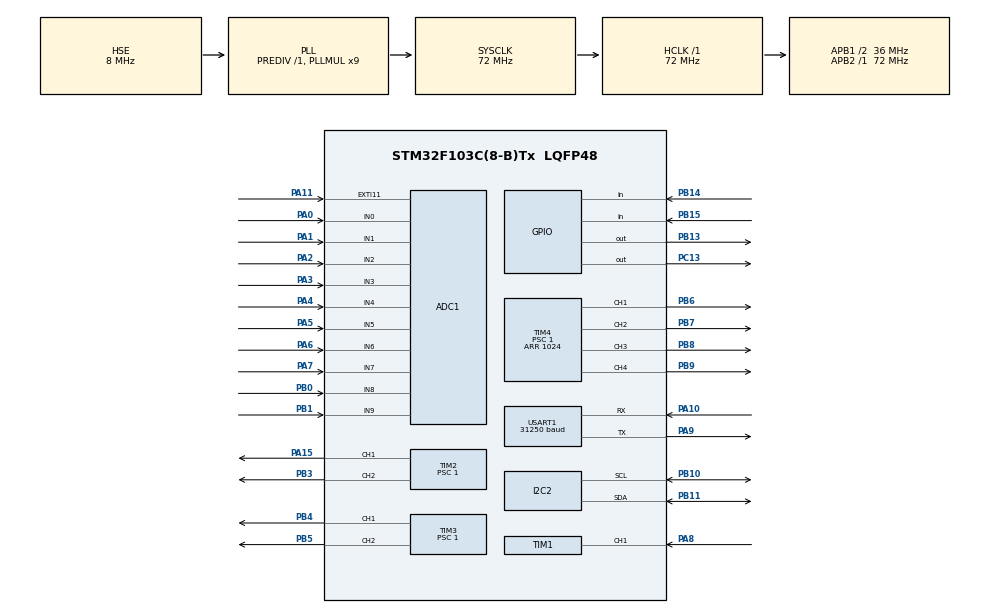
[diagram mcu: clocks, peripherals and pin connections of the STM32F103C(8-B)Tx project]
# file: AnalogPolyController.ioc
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ADC1.Channel-0\#ChannelRegularConversion=ADC_CHANNEL_0
ADC1.Channel-1\#ChannelRegularConversion=ADC_CHANNEL_1
ADC1.Channel-2\#ChannelRegularConversion=ADC_CHANNEL_2
ADC1.Channel-3\#ChannelRegularConversion=ADC_CHANNEL_3
ADC1.Channel-4\#ChannelRegularConversion=ADC_CHANNEL_4
ADC1.Channel-5\#ChannelRegularConversion=ADC_CHANNEL_5
ADC1.Channel-6\#ChannelRegularConversion=ADC_CHANNEL_6
ADC1.Channel-7\#ChannelRegularConversion=ADC_CHANNEL_7
ADC1.Channel-8\#ChannelRegularConversion=ADC_CHANNEL_8
ADC1.ContinuousConvMode=DISABLE
ADC1.NbrOfConversion=9
ADC1.NbrOfConversionFlag=1
ADC1.Rank-0\#ChannelRegularConversion=1
ADC1.Rank-1\#ChannelRegularConversion=2
ADC1.Rank-2\#ChannelRegularConversion=3
ADC1.Rank-3\#ChannelRegularConversion=4
ADC1.Rank-4\#ChannelRegularConversion=5
ADC1.Rank-5\#ChannelRegularConversion=6
ADC1.Rank-6\#ChannelRegularConversion=7
ADC1.Rank-7\#ChannelRegularConversion=8
ADC1.Rank-8\#ChannelRegularConversion=9
ADC1.SamplingTime-0\#ChannelRegularConversion=ADC_SAMPLETIME_7CYCLES_5
ADC1.SamplingTime-1\#ChannelRegularConversion=ADC_SAMPLETIME_7CYCLES_5
ADC1.SamplingTime-2\#ChannelRegularConversion=ADC_SAMPLETIME_7CYCLES_5
ADC1.SamplingTime-3\#ChannelRegularConversion=ADC_SAMPLETIME_7CYCLES_5
ADC1.SamplingTime-4\#ChannelRegularConversion=ADC_SAMPLETIME_7CYCLES_5
ADC1.SamplingTime-5\#ChannelRegularConversion=ADC_SAMPLETIME_7CYCLES_5
ADC1.SamplingTime-6\#ChannelRegularConversion=ADC_SAMPLETIME_7CYCLES_5
ADC1.SamplingTime-7\#ChannelRegularConversion=ADC_SAMPLETIME_7CYCLES_5
ADC1.SamplingTime-8\#ChannelRegularConversion=ADC_SAMPLETIME_7CYCLES_5
ADC1.master=1
Dma.ADC1.0.Direction=DMA_PERIPH_TO_MEMORY
Dma.ADC1.0.Instance=DMA1_Channel1
Dma.ADC1.0.MemDataAlignment=DMA_MDATAALIGN_HALFWORD
Dma.ADC1.0.MemInc=DMA_MINC_ENABLE
Dma.ADC1.0.Mode=DMA_CIRCULAR
Dma.ADC1.0.PeriphDataAlignment=DMA_PDATAALIGN_HALFWORD
Dma.ADC1.0.PeriphInc=DMA_PINC_DISABLE
Dma.ADC1.0.Priority=DMA_PRIORITY_LOW
Dma.Request0=ADC1
Dma.Request1=USART1_RX
Dma.USART1_RX.1.Direction=DMA_PERIPH_TO_MEMORY
Dma.USART1_RX.1.Instance=DMA1_Channel5
Dma.USART1_RX.1.MemDataAlignment=DMA_MDATAALIGN_BYTE
Dma.USART1_RX.1.MemInc=DMA_MINC_DISABLE
Dma.USART1_RX.1.Mode=DMA_NORMAL
Dma.USART1_RX.1.PeriphDataAlignment=DMA_PDATAALIGN_BYTE
Dma.USART1_RX.1.PeriphInc=DMA_PINC_DISABLE
Dma.USART1_RX.1.Priority=DMA_PRIORITY_VERY_HIGH
Mcu.Family=STM32F1
Mcu.Name=STM32F103C(8-B)Tx
Mcu.Package=LQFP48
NVIC.DMA1_Channel1_IRQn=true\:0\:0\:false\:false\:true\:false\:true\:true
NVIC.DMA1_Channel5_IRQn=true\:0\:0\:false\:false\:true\:false\:true\:true
NVIC.PriorityGroup=NVIC_PRIORITYGROUP_4
NVIC.TIM1_CC_IRQn=true\:0\:0\:false\:false\:true\:true\:true\:true
NVIC.TIM1_UP_IRQn=true\:0\:0\:false\:false\:true\:true\:true\:true
NVIC.USART1_IRQn=true\:6\:0\:true\:false\:true\:true\:true\:true
PA0-WKUP.Signal=ADCx_IN0
PA1.Signal=ADCx_IN1
PA10.Mode=Asynchronous
PA10.Signal=USART1_RX
PA11.Signal=GPXTI11
PA15.GPIO_Speed=GPIO_SPEED_FREQ_HIGH
PA15.Signal=S_TIM2_CH1_ETR
PA2.Signal=ADCx_IN2
PA3.Signal=ADCx_IN3
PA4.Signal=ADCx_IN4
PA5.Signal=ADCx_IN5
PA6.Signal=ADCx_IN6
PA7.Signal=ADCx_IN7
PA8.GPIO_PuPd=GPIO_PULLUP
PA8.Signal=S_TIM1_CH1
PA9.Mode=Asynchronous
PA9.Signal=USART1_TX
PB0.Signal=ADCx_IN8
PB1.Signal=ADCx_IN9
PB10.Mode=I2C
PB10.Signal=I2C2_SCL
PB11.Mode=I2C
PB11.Signal=I2C2_SDA
PB13.Signal=GPIO_Output
PB14.Signal=GPIO_Input
PB15.Signal=GPIO_Input
PB3.GPIO_Speed=GPIO_SPEED_FREQ_HIGH
PB3.Signal=S_TIM2_CH2
PB4.GPIO_Speed=GPIO_SPEED_FREQ_HIGH
PB4.Signal=S_TIM3_CH1
PB5.GPIO_Speed=GPIO_SPEED_FREQ_HIGH
PB5.Signal=S_TIM3_CH2
PB6.GPIO_ModeDefaultPP=GPIO_MODE_AF_PP
PB6.GPIO_Speed=GPIO_SPEED_FREQ_HIGH
PB6.Signal=S_TIM4_CH1
PB7.GPIO_Speed=GPIO_SPEED_FREQ_HIGH
PB7.Signal=S_TIM4_CH2
PB8.GPIO_Speed=GPIO_SPEED_FREQ_HIGH
PB8.Signal=S_TIM4_CH3
PB9.GPIO_Speed=GPIO_SPEED_FREQ_HIGH
PB9.Signal=S_TIM4_CH4
PC13-TAMPER-RTC.Signal=GPIO_Output
PC14-OSC32_IN.Mode=LSE-External-Oscillator
PC14-OSC32_IN.Signal=RCC_OSC32_IN
PC15-OSC32_OUT.Mode=LSE-External-Oscillator
PC15-OSC32_OUT.Signal=RCC_OSC32_OUT
PD0-OSC_IN.Mode=HSE-External-Oscillator
PD0-OSC_IN.Signal=RCC_OSC_IN
PD1-OSC_OUT.Mode=HSE-External-Oscillator
PD1-OSC_OUT.Signal=RCC_OSC_OUT
ProjectManager.HeapSize=0x200
ProjectManager.StackSize=0x400
ProjectManager.TargetToolchain=MDK-ARM V5
RCC.ADCPresc=RCC_ADCPCLK2_DIV6
RCC.AHBFreq_Value=72000000
RCC.APB1CLKDivider=RCC_HCLK_DIV2
RCC.APB1Freq_Value=36000000
RCC.APB1TimFreq_Value=72000000
RCC.APB2Freq_Value=72000000
RCC.APB2TimFreq_Value=72000000
RCC.HCLKFreq_Value=72000000
RCC.PLLMUL=RCC_PLL_MUL9
RCC.PLLSourceVirtual=RCC_PLLSOURCE_HSE
RCC.SYSCLKFreq_VALUE=72000000
RCC.SYSCLKSource=RCC_SYSCLKSOURCE_PLLCLK
RCC.USBFreq_Value=72000000
SH.ADCx_IN0.0=ADC1_IN0,IN0
SH.ADCx_IN1.0=ADC1_IN1,IN1
SH.ADCx_IN2.0=ADC1_IN2,IN2
SH.ADCx_IN3.0=ADC1_IN3,IN3
SH.ADCx_IN4.0=ADC1_IN4,IN4
SH.ADCx_IN5.0=ADC1_IN5,IN5
SH.ADCx_IN6.0=ADC1_IN6,IN6
SH.ADCx_IN7.0=ADC1_IN7,IN7
SH.ADCx_IN8.0=ADC1_IN8,IN8
SH.ADCx_IN9.0=ADC1_IN9,IN9
SH.S_TIM1_CH1.0=TIM1_CH1,Input_Capture1_from_TI1
SH.S_TIM2_CH1_ETR.0=TIM2_CH1,PWM Generation1 CH1
SH.S_TIM2_CH2.0=TIM2_CH2,PWM Generation2 CH2
SH.S_TIM3_CH1.0=TIM3_CH1,PWM Generation1 CH1
SH.S_TIM3_CH2.0=TIM3_CH2,PWM Generation2 CH2
SH.S_TIM4_CH1.0=TIM4_CH1,PWM Generation1 CH1
SH.S_TIM4_CH2.0=TIM4_CH2,PWM Generation2 CH2
SH.S_TIM4_CH3.0=TIM4_CH3,PWM Generation3 CH3
SH.S_TIM4_CH4.0=TIM4_CH4,PWM Generation4 CH4
TIM1.Channel-Input_Capture1_from_TI1=TIM_CHANNEL_1
TIM1.ICFilter_CH1=0
TIM1.Period=65535
TIM1.Prescaler=720
TIM1.TIM_MasterOutputTrigger=TIM_TRGO_UPDATE
TIM2.Channel-PWM\ Generation1\ CH1=TIM_CHANNEL_1
TIM2.Channel-PWM\ Generation2\ CH2=TIM_CHANNEL_2
TIM2.OCMode_PWM-PWM\ Generation1\ CH1=TIM_OCMODE_PWM1
TIM2.OCMode_PWM-PWM\ Generation2\ CH2=TIM_OCMODE_PWM1
TIM2.OCPolarity_1=TIM_OCPOLARITY_HIGH
TIM2.Period=1024
TIM2.Prescaler=1
TIM2.Pulse-PWM\ Generation1\ CH1=1
TIM2.Pulse-PWM\ Generation2\ CH2=1
TIM2.TIM_MasterOutputTrigger=TIM_TRGO_UPDATE
TIM3.Channel-PWM\ Generation1\ CH1=TIM_CHANNEL_1
TIM3.Channel-PWM\ Generation2\ CH2=TIM_CHANNEL_2
TIM3.Period=1024
TIM3.Prescaler=1
TIM3.Pulse-PWM\ Generation1\ CH1=1
TIM3.Pulse-PWM\ Generation2\ CH2=1
TIM3.TIM_MasterOutputTrigger=TIM_TRGO_UPDATE
TIM4.Channel-PWM\ Generation1\ CH1=TIM_CHANNEL_1
TIM4.Channel-PWM\ Generation2\ CH2=TIM_CHANNEL_2
TIM4.Channel-PWM\ Generation3\ CH3=TIM_CHANNEL_3
TIM4.Channel-PWM\ Generation4\ CH4=TIM_CHANNEL_4
TIM4.OCMode_PWM-PWM\ Generation1\ CH1=TIM_OCMODE_PWM2
TIM4.OCMode_PWM-PWM\ Generation2\ CH2=TIM_OCMODE_PWM2
TIM4.OCMode_PWM-PWM\ Generation3\ CH3=TIM_OCMODE_PWM2
TIM4.OCMode_PWM-PWM\ Generation4\ CH4=TIM_OCMODE_PWM2
TIM4.Period=1024
TIM4.Prescaler=1
TIM4.Pulse-PWM\ Generation1\ CH1=1
TIM4.Pulse-PWM\ Generation2\ CH2=1
TIM4.Pulse-PWM\ Generation3\ CH3=1
TIM4.Pulse-PWM\ Generation4\ CH4=1
TIM4.TIM_MasterOutputTrigger=TIM_TRGO_UPDATE
USART1.BaudRate=31250
USART1.Mode=MODE_RX
USART1.VirtualMode=VM_ASYNC
VP_SYS_VS_ND.Mode=No_Debug
VP_TIM1_VS_ClockSourceINT.Mode=Internal
VP_TIM2_VS_ClockSourceINT.Mode=Internal
VP_TIM3_VS_ClockSourceINT.Mode=Internal
VP_TIM4_VS_ClockSourceINT.Mode=Internal
board=custom

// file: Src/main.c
/* USER CODE BEGIN Header */
/**
  ******************************************************************************
  * @file           : main.c
  * @brief          : Main program body
  ******************************************************************************
  * @attention
  *
  * <h2><center>&copy; Copyright (c) 2020 STMicroelectronics.
  * All rights reserved.</center></h2>
  *
  * This software component is licensed by ST under BSD 3-Clause license,
  * the "License"; You may not use this file except in compliance with the
  * License. You may obtain a copy of the License at:
  *                        opensource.org/licenses/BSD-3-Clause
  *
  ******************************************************************************
  */
/* USER CODE END Header */

#include "main.h"

/* USER CODE BEGIN Includes */
#include <stdio.h>
#include "math.h"
/* USER CODE END Includes */

ADC_HandleTypeDef hadc1;
DMA_HandleTypeDef hdma_adc1;

I2C_HandleTypeDef hi2c2;

TIM_HandleTypeDef htim1;
TIM_HandleTypeDef htim2;
TIM_HandleTypeDef htim3;
TIM_HandleTypeDef htim4;

UART_HandleTypeDef huart1;
DMA_HandleTypeDef hdma_usart1_rx;

void SystemClock_Config(void);
static void MX_GPIO_Init(void);
static void MX_DMA_Init(void);
static void MX_I2C2_Init(void);
static void MX_TIM3_Init(void);
static void MX_TIM4_Init(void);
static void MX_USART1_UART_Init(void);
static void MX_TIM1_Init(void);
static void MX_TIM2_Init(void);
static void MX_ADC1_Init(void);
/* USER CODE BEGIN PFP */
#define greenLed GPIOB,GPIO_PIN_13
#define redLed GPIOB,GPIO_PIN_13

static uint8_t DacData[8]={0,0,0,0,0,0,0,0};
volatile uint8_t updateDacFlag=0;
volatile uint8_t Unison=0;
volatile uint8_t lVel,fVel=1;

uint8_t portRate=0;

void setDacBufVal(uint8_t channel,uint16_t dataIn){

	DacData[channel<<1]=((0xf00&dataIn)>>8);
	DacData[(channel<<1)+1]=dataIn&0xff;

}

void writeToDac(){

	//HAL_I2C_Master_Transmit_DMA(&hi2c2,0x00c2,(uint8_t *)&DacData[0],0x0008);//is bugged, hold line low, stm cant handle dma i2c
	while(HAL_I2C_Master_Transmit(&hi2c2,0x00c2,&(DacData[0]),8,2)==HAL_ERROR){
		HAL_I2C_DeInit(&hi2c2);
		HAL_I2C_Init(&hi2c2);
	}

}

struct voice{
	uint8_t noteOn;
	uint8_t noteCode;
	uint16_t finalNoteVal;
	uint8_t lState;
	uint8_t fState;
	uint8_t noteVel;
	uint16_t lEnvCnt;
	uint16_t fEnvCnt;
	uint16_t loudnessVal;
	uint16_t filterVal;
	volatile unsigned int * loudnessChannel;
	volatile unsigned int * filterChannel;
	signed int offsetError;
	double multiConst;
};

uint8_t midiBuf,noteBuf,velBuf,curPos,status=0;
static struct voice VoiceArray[4];

void initVoices(){

	VoiceArray[0].loudnessChannel=(&(TIM4->CCR1));
	VoiceArray[0].filterChannel=(&(TIM3->CCR2));

	VoiceArray[1].loudnessChannel=(&(TIM4->CCR2));
	VoiceArray[1].filterChannel=(&(TIM3->CCR1));

	VoiceArray[2].loudnessChannel=(&(TIM4->CCR3));
	VoiceArray[2].filterChannel=(&(TIM2->CCR1));

	VoiceArray[3].loudnessChannel=(&(TIM4->CCR4));
	VoiceArray[3].filterChannel=(&(TIM2->CCR2));
	for(uint8_t v=0;v<4;v++){
		VoiceArray[v].noteOn=0;
		VoiceArray[v].lState=0;
		VoiceArray[v].fState=0;
		VoiceArray[v].noteCode=0;
		VoiceArray[v].noteVel=0;
		VoiceArray[v].lEnvCnt=0;
		VoiceArray[v].fEnvCnt=0;
		VoiceArray[v].loudnessVal=0;
		VoiceArray[v].filterVal=0;
		*VoiceArray[v].loudnessChannel=0;
		*VoiceArray[v].filterChannel=0;
		VoiceArray[v].offsetError=20;
		VoiceArray[v].multiConst=57;
	}
}

void noteCodeToDac(uint8_t curVoice){
	//minimum is c1 (32.7hz), it actually shifts all input up a octave
	uint8_t actualNote=((int)(VoiceArray[curVoice].noteCode)-12)%72;
	//caps note below c7 around 2khz
	//uint16_t dataBuf=(log2((8.17525*(VoiceArray[curVoice].noteCode))*(32.7+fError[curVoice]))*(341+eError[curVoice]));
	uint16_t dataBuf=(actualNote*VoiceArray[curVoice].multiConst)+VoiceArray[curVoice].offsetError;
	VoiceArray[curVoice].finalNoteVal=dataBuf;
	//if(portRate==0){
		setDacBufVal(curVoice,dataBuf);
		//return;
	//}

	return;
}

void setNote(uint8_t note){
	uint8_t curVoice=0;
	if(Unison!=0){
		for(curVoice=0;curVoice<4;curVoice++){
			VoiceArray[curVoice].noteOn=1;
			VoiceArray[curVoice].lState=1;
			VoiceArray[curVoice].fState=1;
			VoiceArray[curVoice].noteCode=note;
			VoiceArray[curVoice].lEnvCnt=0;
			VoiceArray[curVoice].fEnvCnt=0;
			VoiceArray[curVoice].noteVel=velBuf;
			noteCodeToDac(curVoice);
		}
		writeToDac();
	}
	else{

	while((VoiceArray[curVoice].loudnessVal!=0)&&(VoiceArray[curVoice].noteCode!=note)){curVoice++;}
	//first looks for the first channel thats off or last played the note we are looking to play
	if(curVoice==4){//if it checks all voices and fails
		while(VoiceArray[curVoice].noteOn!=0){curVoice++;}
		//then just tries for any note that isnt on (in release to nothing (5) state it can be off and still making noise)
		if(curVoice==4){return;}//gives up if it cant find any
	}
	VoiceArray[curVoice].noteOn=1;
	VoiceArray[curVoice].lState=1;
	VoiceArray[curVoice].fState=1;
	VoiceArray[curVoice].noteCode=note;
	VoiceArray[curVoice].lEnvCnt=0;
	VoiceArray[curVoice].fEnvCnt=0;
	VoiceArray[curVoice].noteVel=velBuf;
	noteCodeToDac(curVoice);
	updateDacFlag=1;
	}
	return;
}

void releaseNote(uint8_t note){
	uint8_t curVoice=0;
	if(Unison!=0){
			for(curVoice=0;curVoice<4;curVoice++){
				VoiceArray[curVoice].noteOn=0;
				VoiceArray[curVoice].lState=5;
				VoiceArray[curVoice].fState=5;
			}
	}

	while(VoiceArray[curVoice].noteCode!=note){
		curVoice++;
		if(curVoice==4){return;}}
	VoiceArray[curVoice].noteOn=0;
	VoiceArray[curVoice].lState=5;
	VoiceArray[curVoice].fState=5;
	return;
}

void midiParse(void){
	switch(curPos){
			case 0:{if(midiBuf>=0x80){
					status=midiBuf;
					status&=0xf0;
					if(status==0x90||status==0x80){
						HAL_UART_DMAStop(&huart1);
						HAL_UART_Receive_DMA(&huart1,&noteBuf,1);

						curPos=1;}
					}
					else{

					if(status==0x90||status==0x80){
						noteBuf=midiBuf;
						HAL_UART_DMAStop(&huart1);
						HAL_UART_Receive_DMA(&huart1,&velBuf,1);
						curPos=2;}
					}
			break;
			}
			case 1:{
				HAL_UART_DMAStop(&huart1);
					HAL_UART_Receive_DMA(&huart1,&velBuf,1);
					curPos=2;
					if(noteBuf>=0x80){
						curPos=0;
						status=noteBuf;
						HAL_UART_DMAStop(&huart1);
						HAL_UART_Receive_DMA(&huart1,&midiBuf,1);
					}
			break;
			}

			case 2:{
				curPos=0;
				HAL_UART_DMAStop(&huart1);
				HAL_UART_Receive_DMA(&huart1,&midiBuf,1);
				switch(status){
					case 0x90:{
						setNote(noteBuf);
						break;}
					case 0x80:{
						releaseNote(noteBuf);
						break;}
				}
			break;
			}
}}

static uint32_t EnvSampleFlag=0;

void timer1Complete(void){
 	EnvSampleFlag++;

	/*
	if(portRate!=0){
		uint16_t buffer,curVal=0;
		for(uint8_t channel=0;channel<4;channel++){
			curVal=(DacData[channel<<1]>>8)|(DacData[(channel<<1)+1]);
			if

			setDacBufVal(channel,&buffer)
		}
	}
	*/
}

uint8_t lAttackToVal(uint8_t curVoice,uint16_t gradient,uint16_t limit){//returns 0 once the output reaches value

	if(VoiceArray[curVoice].loudnessVal==limit){return(0);}//if at limit itll exit with a state complete code

	else if((VoiceArray[curVoice].loudnessVal+gradient)<limit){
		VoiceArray[curVoice].loudnessVal+=gradient;
		(*VoiceArray[curVoice].loudnessChannel)=VoiceArray[curVoice].loudnessVal>>6;//scales down to 1024 being max
		return(1);
	}//increases by gradient and exits with state continue code

	else if(VoiceArray[curVoice].loudnessVal>limit){
		//if for whatever reason its more than limit itll exit with a state complete code
		VoiceArray[curVoice].loudnessVal=limit;
		(*VoiceArray[curVoice].loudnessChannel)=VoiceArray[curVoice].loudnessVal>>6;

		return(0);}

	else if((VoiceArray[curVoice].loudnessVal+gradient)>=limit){//if once the gradient is added itll exceed the limit itll

		VoiceArray[curVoice].loudnessVal=limit;
		(*VoiceArray[curVoice].loudnessChannel)=VoiceArray[curVoice].loudnessVal>>6;
		return(0);
	}

	return(0);
}
uint8_t lReleaseToVal(uint8_t curVoice,uint16_t gradient,uint16_t limit){//returns 0 once the output reaches limit

	if(VoiceArray[curVoice].loudnessVal==limit){return(0);}//if at limit itll exit with a state complete code

	else if((VoiceArray[curVoice].loudnessVal-gradient)>limit){
		VoiceArray[curVoice].loudnessVal-=gradient;
		(*VoiceArray[curVoice].loudnessChannel)=VoiceArray[curVoice].loudnessVal>>6;//scales down to 1024 being max
		return(1);
	}//increases by gradient and exits with state continue code

	else if((VoiceArray[curVoice].loudnessVal-gradient)<=limit){//if once the gradient is added itll exceed the limit itll

		VoiceArray[curVoice].loudnessVal=limit;
		(*VoiceArray[curVoice].loudnessChannel)=VoiceArray[curVoice].loudnessVal>>6;
		return(0);
	}

	return(0);
}

uint8_t fAttackToVal(uint8_t curVoice,uint16_t gradient,uint16_t limit){//returns 0 once the output reaches value

	if(VoiceArray[curVoice].filterVal==limit){return(0);}//if at limit itll exit witha state complete code

	else if((VoiceArray[curVoice].filterVal+gradient)<limit){
		VoiceArray[curVoice].filterVal+=gradient;
		(*VoiceArray[curVoice].filterChannel)=VoiceArray[curVoice].filterVal>>6;//scales down to 1024 being max
		return(1);
	}//increases by gradient and exits with state continue code

	else if(VoiceArray[curVoice].filterVal>limit){
		//if for whatever reason its more than limit itll exit with a state complete code
		VoiceArray[curVoice].filterVal=limit;
		(*VoiceArray[curVoice].filterChannel)=VoiceArray[curVoice].filterVal>>6;

		return(0);}

	else if((VoiceArray[curVoice].filterVal+gradient)>=limit){//if once the gradient is added itll exceed the limit itll

		VoiceArray[curVoice].filterVal=limit;
		(*VoiceArray[curVoice].filterChannel)=VoiceArray[curVoice].filterVal>>6;
		return(0);
	}

	return(0);
}
uint8_t fReleaseToVal(uint8_t curVoice,uint16_t gradient,uint16_t limit){//returns 0 once the output reaches limit

	if(VoiceArray[curVoice].filterVal==limit){return(0);}//if at limit itll exit with a state complete code

	else if((VoiceArray[curVoice].filterVal-gradient)>limit){
		VoiceArray[curVoice].filterVal-=gradient;
		(*VoiceArray[curVoice].filterChannel)=VoiceArray[curVoice].filterVal>>6;//scales down to 1024 being max
		return(1);
	}//increases by gradient and exits with state continue code

	else if((VoiceArray[curVoice].filterVal-gradient)<=limit){//if once the gradient is added itll exceed the limit itll

		VoiceArray[curVoice].filterVal=limit;
		(*VoiceArray[curVoice].filterChannel)=VoiceArray[curVoice].filterVal>>6;
		return(0);
	}

	return(0);
}

/*	    __
			 /  \                         _______
      /    \                       /       \
		 /      \_________           	/         \
	  /                 \          /           \
	 /                   \        /             \
  /                     \      /               \
-><----><><-><-------><-><----><><-><-----><---><----
0	   1  2  3     4     5   0    1 6    4     5    0

ADSRvals formatted 0:lAttack,1:lDelay,2:lSustain,3:lRelease,4:fAttack,5:fDelay,6:fSustain,7:fRelease,8:fInfluence
*/

void lADSRstep(uint8_t voiceNum,uint16_t * pADSRvals ){
	switch(VoiceArray[voiceNum].lState){
		case (0):{return;}

		case (1):{//attack
			if(VoiceArray[voiceNum].lEnvCnt< (*(pADSRvals+1))){
				if(lAttackToVal(voiceNum,*(pADSRvals),0xffff)==0){
					VoiceArray[voiceNum].lState=2;
				}
				VoiceArray[voiceNum].lEnvCnt++;
			}
			else{
					if(VoiceArray[voiceNum].loudnessVal==(*pADSRvals+2)){
						VoiceArray[voiceNum].lState=4;//goes straight into sustain state
					}
					else if(VoiceArray[voiceNum].loudnessVal>(*(pADSRvals+2))){
						VoiceArray[voiceNum].lState=3;}//releases to sustain
					else{VoiceArray[voiceNum].lState=6;}//attacks to sustain
			}
			if(VoiceArray[voiceNum].noteOn==0){
				VoiceArray[voiceNum].lState=5;
			}

			return;

		}

		case (2):{//once attack has reached peak value
			if(VoiceArray[voiceNum].lEnvCnt>= (*(pADSRvals+1))){
				VoiceArray[voiceNum].lState=3;
			}
			else{VoiceArray[voiceNum].lEnvCnt++;}
			return;
		}

		case (3):{//releasing to sustain
			if(lReleaseToVal(voiceNum,*(pADSRvals+3),*(pADSRvals+2))==0){VoiceArray[voiceNum].lState=4;}
			return;
		}

		case 4:return;
		case 5:{//releasing to 0
			if(lReleaseToVal(voiceNum,*(pADSRvals+3),0)==0){VoiceArray[voiceNum].lState=0;}
			return;
		}

		case 6:{//attacking to sustain after delay
			if(lAttackToVal(voiceNum,*(pADSRvals+3),*(pADSRvals+2))==0){VoiceArray[voiceNum].lState=4;}
		}

	}

}
void fADSRstep(uint8_t voiceNum,uint16_t * pADSRvals ){
	switch(VoiceArray[voiceNum].fState){
		case 0:{return;}

		case 1:{//attack
			if(VoiceArray[voiceNum].fEnvCnt< (*(pADSRvals+5))){
				if(fAttackToVal(voiceNum,*(pADSRvals+4),*(pADSRvals+8))==0){
					VoiceArray[voiceNum].fState=2;
				}
				VoiceArray[voiceNum].fEnvCnt++;
			}
			else{
					if(VoiceArray[voiceNum].filterVal==(*pADSRvals+6)){
						VoiceArray[voiceNum].fState=4;//goes straight into sustain state
					}
					else if(VoiceArray[voiceNum].filterVal>(*(pADSRvals+6))){
						VoiceArray[voiceNum].fState=3;}//releases to sustain
					else{VoiceArray[voiceNum].fState=6;}//attacks to sustain
			}
			if(VoiceArray[voiceNum].noteOn==0){
				VoiceArray[voiceNum].fState=5;
			}

			return;

		}

		case 2:{//once attack has reached peak value
			if(VoiceArray[voiceNum].fEnvCnt>= (*(pADSRvals+5))){
				VoiceArray[voiceNum].fState=3;
			}
			else{VoiceArray[voiceNum].fEnvCnt++;}
			return;
		}

		case 3:{//releasing to sustain
			if(fReleaseToVal(voiceNum,*(pADSRvals+7),*(pADSRvals+6))==0){VoiceArray[voiceNum].fState=4;}
			return;
		}

		case 4:return;
		case 5:{//releasing to 0
			if(fReleaseToVal(voiceNum,*(pADSRvals+7),0)==0){VoiceArray[voiceNum].fState=0;}
			return;
		}

		case 6:{//attacking to sustain after delay
			if(fAttackToVal(voiceNum,*(pADSRvals+7),*(pADSRvals+6))==0){VoiceArray[voiceNum].fState=4;}
		}

	}
}

volatile uint16_t timeStamps[2]={0,0};
volatile uint8_t timeStampCnt=2;
void gotIC(void){
	if(timeStampCnt<2){
		timeStamps[timeStampCnt]=TIM1->CCR1;
		timeStampCnt++;
	}
}

uint32_t readFreqCount(void){

	HAL_TIM_Base_Start_IT(&htim1);
	HAL_TIM_IC_Start_IT(&htim1,TIM_CHANNEL_1);

	volatile uint32_t timerCount=0;
	timeStampCnt=0;
	while(timeStampCnt!=2){}
	if(timeStamps[1]>timeStamps[0]){
		timerCount=timeStamps[1]-timeStamps[0];
	}
	else{
		timerCount=readFreqCount();
	}
	HAL_TIM_Base_Stop_IT(&htim1);
	HAL_TIM_IC_Stop_IT(&htim1,TIM_CHANNEL_1);

	return(timerCount);
}

int fullTune(){
	/*first 32.7hz(midi code 12)
	then 261.63
	then 1046.5
	*/
	HAL_GPIO_WritePin(redLed,GPIO_PIN_SET);
	HAL_GPIO_WritePin(greenLed,GPIO_PIN_SET);
	//set light to yellow

	HAL_UART_Abort_IT(&huart1);
	//stop taking midi in
	const uint8_t tuneNoteCodes[3]={12,48,72};
	const uint32_t tuneTickCounts[3]={3058,382,96};
	//known note codes and number of ticks (inverse of frequency) that note should take
	signed int curError;
	volatile uint8_t curTuneVoice;
	for(curTuneVoice=0;curTuneVoice<4;curTuneVoice++){
		*VoiceArray[curTuneVoice].loudnessChannel=0;
		*VoiceArray[curTuneVoice].filterChannel=1024;

	}
	uint8_t curTuneStep;
	uint32_t curTickCount;
	for(curTuneVoice=0;curTuneVoice<4;curTuneVoice++){

		*VoiceArray[curTuneVoice].loudnessChannel=1024;
//set that voice's volume to the maximum so the microcontroller can read it
		for(curTuneStep=0;curTuneStep<3;curTuneStep++){

			VoiceArray[curTuneVoice].noteCode=tuneNoteCodes[curTuneStep];
      //set the current note code to the note we're tuning for
			do{
				noteCodeToDac(curTuneVoice);
				writeToDac();
//uses the current tuning parameters to write a voltage that should be close

				curTickCount=readFreqCount();//read the frequency of that note

				curError=curTickCount-tuneTickCounts[curTuneVoice];
				//compare it against the known frequency that note should have
				if(curTuneStep==0){
          //tuning starts with the lowest note which has a code of zero
          //here the offset is trimmed
					if(curError>10){
						VoiceArray[curTuneVoice].offsetError++;
					}
					else if(curError<-10){
						VoiceArray[curTuneVoice].offsetError--;
					}
				}

				else{//after the lowest note the note to voltage gradient is trimmed
					if(curError>10){
						VoiceArray[curTuneVoice].multiConst--;
					}

					else if(curError<-10){
						VoiceArray[curTuneVoice].multiConst++;
					}
					//this could be done with a polynomial for improved range
        }
			}while(((curError>10)||(curError<-10)));

		}
		*VoiceArray[curTuneVoice].loudnessChannel=0;

	}
	if((VoiceArray[curTuneVoice].multiConst<70)||(VoiceArray[curTuneVoice].offsetError>0)){
		HAL_GPIO_WritePin(greenLed,GPIO_PIN_RESET);//light go red

		return(curTuneVoice+1);
	}
	else{
		HAL_GPIO_WritePin(redLed,GPIO_PIN_RESET);//go green

		return(0);
	}
}

/* USER CODE END PFP */

int main(void)
{

  /* MCU Configuration--------------------------------------------------------*/

  /* Reset of all peripherals, Initializes the Flash interface and the Systick. */
  HAL_Init();

  /* Configure the system clock */
  SystemClock_Config();

  /* Initialize all configured peripherals */
  MX_GPIO_Init();
  MX_DMA_Init();
  MX_I2C2_Init();
  MX_TIM3_Init();
  MX_TIM4_Init();
  MX_USART1_UART_Init();
  MX_TIM1_Init();
  MX_TIM2_Init();
  MX_ADC1_Init();
  /* USER CODE BEGIN 2 */
	HAL_GPIO_WritePin(greenLed,GPIO_PIN_SET);
	HAL_UART_Receive_DMA(&huart1,&midiBuf,1);
	HAL_DMA_Init(&hdma_usart1_rx);

	HAL_TIM_OC_Start(&htim3,TIM_CHANNEL_1);
	HAL_TIM_OC_Start(&htim3,TIM_CHANNEL_2);
	HAL_TIM_OC_Start(&htim2,TIM_CHANNEL_1);
	HAL_TIM_OC_Start(&htim2,TIM_CHANNEL_2);
	HAL_TIM_OC_Start(&htim4,TIM_CHANNEL_1);
	HAL_TIM_OC_Start(&htim4,TIM_CHANNEL_2);
	HAL_TIM_OC_Start(&htim4,TIM_CHANNEL_3);
	HAL_TIM_OC_Start(&htim4,TIM_CHANNEL_4);

	HAL_TIM_Base_Init(&htim1);
	uint16_t ADSRvals[10]={180,2048,2048,180,180,2048,2048,180,2048,0};//lAttack,lDelay,lSustain,lRelease,fAttack,fDelay,fSustain,fRelease,fInfluence
	uint16_t ADSRbuf[30]={180,2048,2048,180,180,2048,2048,180,2048,0,180,2048,2048,180,180,2048,2048,180,2048,0,180,2048,2048,180,180,2048,2048,180,2048,0};//lAttack,lDelay,lSustain,lRelease,fAttack,fDelay,fSustain,fRelease,fInfluence
	uint8_t curBuf=0;

	initVoices();

	//*VoiceArray[0].loudnessChannel=256;  //for test purposes
	//*VoiceArray[0].filterChannel=512;
	uint8_t channel;
	for(channel=0;channel<4;channel++){
		*VoiceArray[channel].loudnessChannel=0;
		*VoiceArray[channel].filterChannel=0;
	}
	channel=0;

	HAL_I2C_Init(&hi2c2);

	for(uint8_t i=0;i<8;i++){
		while(hi2c2.State!=HAL_I2C_STATE_READY){}
		while(HAL_I2C_IsDeviceReady(&hi2c2,0x00c0|i<<1,1,2)==HAL_ERROR){
			HAL_I2C_DeInit(&hi2c2);
			HAL_I2C_Init(&hi2c2);
		}

	}

	setDacBufVal(0,4000);
	writeToDac();
	fullTune();
	TIM1->ARR=50;
	uint8_t rescanCnt=0;

  /* USER CODE END 2 */

  /* Infinite loop */
  /* USER CODE BEGIN WHILE */

  while (1)
  {

		if(HAL_UART_GetState(&huart1)!=HAL_UART_STATE_BUSY_RX){
			HAL_UART_Receive_DMA(&huart1,&midiBuf,1);
		}//checking we are currently reciving data just incase the midi routine fell over
		if(updateDacFlag==1){
			writeToDac();
			updateDacFlag=0;
		}
		if(channel<4){
			lADSRstep(channel,&ADSRvals[0]);
			fADSRstep(channel,&ADSRvals[0]);
			channel++;
		}

		else if(EnvSampleFlag>10){
			channel=0;
			EnvSampleFlag=0;
			rescanCnt++;
			if(rescanCnt>=5){

				HAL_ADC_Stop_DMA(&hadc1);
				HAL_ADC_Start_DMA(&hadc1,(uint32_t *)&ADSRbuf[curBuf*10],10);
				curBuf++;
				if(curBuf==3){curBuf=0;}
				//Unison=HAL_GPIO_ReadPin(GPIOB,GPIO_PIN_14);//fucks sake why doesnt it work
				if(HAL_GPIO_ReadPin(GPIOB,GPIO_PIN_15)==0){fullTune();}

			}
			if(rescanCnt>=6){
					rescanCnt=0;
					//loudness
					ADSRvals[0]=((ADSRbuf[0]+ADSRbuf[10]+ADSRbuf[20])/3)+1;//attack
					ADSRvals[1]=((ADSRbuf[1]+ADSRbuf[11]+ADSRbuf[21])/128);//delay
					ADSRvals[1]+=10;

					ADSRvals[2]=(ADSRbuf[2]+ADSRbuf[12]+ADSRbuf[22])*3;//sustain
					ADSRvals[3]=((ADSRbuf[3]+ADSRbuf[13]+ADSRbuf[23])/3)+1;//release
					//filter
					ADSRvals[8]=(ADSRbuf[8]+ADSRbuf[18]+ADSRbuf[28])*5;//influence
					ADSRvals[4]=((ADSRbuf[4]+ADSRbuf[14]+ADSRbuf[24])*ADSRvals[8]/(184320))+1;//attack
					ADSRvals[5]=(ADSRbuf[5]+ADSRbuf[15]+ADSRbuf[25])/128;//delay
					ADSRvals[5]+=10;
					ADSRvals[6]=(ADSRbuf[6]+ADSRbuf[16]+ADSRbuf[26])*ADSRvals[8]/12288;//sustain
					ADSRvals[7]=((ADSRbuf[7]+ADSRbuf[17]+ADSRbuf[27])*ADSRvals[8]/184320)+1;//release
					ADSRvals[9]=(ADSRbuf[9]+ADSRbuf[19]+ADSRbuf[29])/3;
					//printf("ADSR Values are A%u D%u S%u R%u filter: A%u D%u S%u R%u with influence %u",ADSRvals[0],ADSRvals[1],ADSRvals[2],ADSRvals[3],ADSRvals[4],ADSRvals[5],ADSRvals[6],ADSRvals[7],ADSRvals[8]);//you made it
			}
		}

    /* USER CODE END WHILE */

  }
}

void SystemClock_Config(void)
{
  RCC_OscInitTypeDef RCC_OscInitStruct = {0};
  RCC_ClkInitTypeDef RCC_ClkInitStruct = {0};
  RCC_PeriphCLKInitTypeDef PeriphClkInit = {0};

  /** Initializes the CPU, AHB and APB busses clocks
  */
  RCC_OscInitStruct.OscillatorType = RCC_OSCILLATORTYPE_HSE;
  RCC_OscInitStruct.HSEState = RCC_HSE_ON;
  RCC_OscInitStruct.HSEPredivValue = RCC_HSE_PREDIV_DIV1;
  RCC_OscInitStruct.HSIState = RCC_HSI_ON;
  RCC_OscInitStruct.PLL.PLLState = RCC_PLL_ON;
  RCC_OscInitStruct.PLL.PLLSource = RCC_PLLSOURCE_HSE;
  RCC_OscInitStruct.PLL.PLLMUL = RCC_PLL_MUL9;
  if (HAL_RCC_OscConfig(&RCC_OscInitStruct) != HAL_OK)
  {
    Error_Handler();
  }
  /** Initializes the CPU, AHB and APB busses clocks
  */
  RCC_ClkInitStruct.ClockType = RCC_CLOCKTYPE_HCLK|RCC_CLOCKTYPE_SYSCLK
                              |RCC_CLOCKTYPE_PCLK1|RCC_CLOCKTYPE_PCLK2;
  RCC_ClkInitStruct.SYSCLKSource = RCC_SYSCLKSOURCE_PLLCLK;
  RCC_ClkInitStruct.AHBCLKDivider = RCC_SYSCLK_DIV1;
  RCC_ClkInitStruct.APB1CLKDivider = RCC_HCLK_DIV2;
  RCC_ClkInitStruct.APB2CLKDivider = RCC_HCLK_DIV1;

  if (HAL_RCC_ClockConfig(&RCC_ClkInitStruct, FLASH_LATENCY_2) != HAL_OK)
  {
    Error_Handler();
  }
  PeriphClkInit.PeriphClockSelection = RCC_PERIPHCLK_ADC;
  PeriphClkInit.AdcClockSelection = RCC_ADCPCLK2_DIV6;
  if (HAL_RCCEx_PeriphCLKConfig(&PeriphClkInit) != HAL_OK)
  {
    Error_Handler();
  }
}

static void MX_ADC1_Init(void)
{

  ADC_ChannelConfTypeDef sConfig = {0};

  /** Common config
  */
  hadc1.Instance = ADC1;
  hadc1.Init.ScanConvMode = ADC_SCAN_ENABLE;
  hadc1.Init.ContinuousConvMode = DISABLE;
  hadc1.Init.DiscontinuousConvMode = DISABLE;
  hadc1.Init.ExternalTrigConv = ADC_EXTERNALTRIGCONV_EXT_IT11;
  hadc1.Init.DataAlign = ADC_DATAALIGN_RIGHT;
  hadc1.Init.NbrOfConversion = 9;
  if (HAL_ADC_Init(&hadc1) != HAL_OK)
  {
    Error_Handler();
  }
  /** Configure Regular Channel
  */
  sConfig.Channel = ADC_CHANNEL_0;
  sConfig.Rank = ADC_REGULAR_RANK_1;
  sConfig.SamplingTime = ADC_SAMPLETIME_7CYCLES_5;
  if (HAL_ADC_ConfigChannel(&hadc1, &sConfig) != HAL_OK)
  {
    Error_Handler();
  }
  /** Configure Regular Channel
  */
  sConfig.Channel = ADC_CHANNEL_1;
  sConfig.Rank = ADC_REGULAR_RANK_2;
  if (HAL_ADC_ConfigChannel(&hadc1, &sConfig) != HAL_OK)
  {
    Error_Handler();
  }
  /** Configure Regular Channel
  */
  sConfig.Channel = ADC_CHANNEL_2;
  sConfig.Rank = ADC_REGULAR_RANK_3;
  if (HAL_ADC_ConfigChannel(&hadc1, &sConfig) != HAL_OK)
  {
    Error_Handler();
  }
  /** Configure Regular Channel
  */
  sConfig.Channel = ADC_CHANNEL_3;
  sConfig.Rank = ADC_REGULAR_RANK_4;
  if (HAL_ADC_ConfigChannel(&hadc1, &sConfig) != HAL_OK)
  {
    Error_Handler();
  }
  /** Configure Regular Channel
  */
  sConfig.Channel = ADC_CHANNEL_4;
  sConfig.Rank = ADC_REGULAR_RANK_5;
  if (HAL_ADC_ConfigChannel(&hadc1, &sConfig) != HAL_OK)
  {
    Error_Handler();
  }
  /** Configure Regular Channel
  */
  sConfig.Channel = ADC_CHANNEL_5;
  sConfig.Rank = ADC_REGULAR_RANK_6;
  if (HAL_ADC_ConfigChannel(&hadc1, &sConfig) != HAL_OK)
  {
    Error_Handler();
  }
  /** Configure Regular Channel
  */
  sConfig.Channel = ADC_CHANNEL_6;
  sConfig.Rank = ADC_REGULAR_RANK_7;
  if (HAL_ADC_ConfigChannel(&hadc1, &sConfig) != HAL_OK)
  {
    Error_Handler();
  }
  /** Configure Regular Channel
  */
  sConfig.Channel = ADC_CHANNEL_7;
  sConfig.Rank = ADC_REGULAR_RANK_8;
  if (HAL_ADC_ConfigChannel(&hadc1, &sConfig) != HAL_OK)
  {
    Error_Handler();
  }
  /** Configure Regular Channel
  */
  sConfig.Channel = ADC_CHANNEL_8;
  sConfig.Rank = ADC_REGULAR_RANK_9;
  if (HAL_ADC_ConfigChannel(&hadc1, &sConfig) != HAL_OK)
  {
    Error_Handler();
  }

}

static void MX_I2C2_Init(void)
{

  hi2c2.Instance = I2C2;
  hi2c2.Init.ClockSpeed = 100000;
  hi2c2.Init.DutyCycle = I2C_DUTYCYCLE_2;
  hi2c2.Init.OwnAddress1 = 0;
  hi2c2.Init.AddressingMode = I2C_ADDRESSINGMODE_7BIT;
  hi2c2.Init.DualAddressMode = I2C_DUALADDRESS_DISABLE;
  hi2c2.Init.OwnAddress2 = 0;
  hi2c2.Init.GeneralCallMode = I2C_GENERALCALL_DISABLE;
  hi2c2.Init.NoStretchMode = I2C_NOSTRETCH_DISABLE;
  if (HAL_I2C_Init(&hi2c2) != HAL_OK)
  {
    Error_Handler();
  }

}

static void MX_TIM1_Init(void)
{

  TIM_ClockConfigTypeDef sClockSourceConfig = {0};
  TIM_MasterConfigTypeDef sMasterConfig = {0};
  TIM_IC_InitTypeDef sConfigIC = {0};

  htim1.Instance = TIM1;
  htim1.Init.Prescaler = 720;
  htim1.Init.CounterMode = TIM_COUNTERMODE_UP;
  htim1.Init.Period = 65535;
  htim1.Init.ClockDivision = TIM_CLOCKDIVISION_DIV1;
  htim1.Init.RepetitionCounter = 0;
  htim1.Init.AutoReloadPreload = TIM_AUTORELOAD_PRELOAD_DISABLE;
  if (HAL_TIM_Base_Init(&htim1) != HAL_OK)
  {
    Error_Handler();
  }
  sClockSourceConfig.ClockSource = TIM_CLOCKSOURCE_INTERNAL;
  if (HAL_TIM_ConfigClockSource(&htim1, &sClockSourceConfig) != HAL_OK)
  {
    Error_Handler();
  }
  if (HAL_TIM_IC_Init(&htim1) != HAL_OK)
  {
    Error_Handler();
  }
  sMasterConfig.MasterOutputTrigger = TIM_TRGO_UPDATE;
  sMasterConfig.MasterSlaveMode = TIM_MASTERSLAVEMODE_DISABLE;
  if (HAL_TIMEx_MasterConfigSynchronization(&htim1, &sMasterConfig) != HAL_OK)
  {
    Error_Handler();
  }
  sConfigIC.ICPolarity = TIM_INPUTCHANNELPOLARITY_RISING;
  sConfigIC.ICSelection = TIM_ICSELECTION_DIRECTTI;
  sConfigIC.ICPrescaler = TIM_ICPSC_DIV1;
  sConfigIC.ICFilter = 0;
  if (HAL_TIM_IC_ConfigChannel(&htim1, &sConfigIC, TIM_CHANNEL_1) != HAL_OK)
  {
    Error_Handler();
  }

}

static void MX_TIM2_Init(void)
{

  TIM_ClockConfigTypeDef sClockSourceConfig = {0};
  TIM_MasterConfigTypeDef sMasterConfig = {0};
  TIM_OC_InitTypeDef sConfigOC = {0};

  htim2.Instance = TIM2;
  htim2.Init.Prescaler = 1;
  htim2.Init.CounterMode = TIM_COUNTERMODE_UP;
  htim2.Init.Period = 1024;
  htim2.Init.ClockDivision = TIM_CLOCKDIVISION_DIV1;
  htim2.Init.AutoReloadPreload = TIM_AUTORELOAD_PRELOAD_DISABLE;
  if (HAL_TIM_Base_Init(&htim2) != HAL_OK)
  {
    Error_Handler();
  }
  sClockSourceConfig.ClockSource = TIM_CLOCKSOURCE_INTERNAL;
  if (HAL_TIM_ConfigClockSource(&htim2, &sClockSourceConfig) != HAL_OK)
  {
    Error_Handler();
  }
  if (HAL_TIM_PWM_Init(&htim2) != HAL_OK)
  {
    Error_Handler();
  }
  sMasterConfig.MasterOutputTrigger = TIM_TRGO_UPDATE;
  sMasterConfig.MasterSlaveMode = TIM_MASTERSLAVEMODE_DISABLE;
  if (HAL_TIMEx_MasterConfigSynchronization(&htim2, &sMasterConfig) != HAL_OK)
  {
    Error_Handler();
  }
  sConfigOC.OCMode = TIM_OCMODE_PWM1;
  sConfigOC.Pulse = 1;
  sConfigOC.OCPolarity = TIM_OCPOLARITY_HIGH;
  sConfigOC.OCFastMode = TIM_OCFAST_DISABLE;
  if (HAL_TIM_PWM_ConfigChannel(&htim2, &sConfigOC, TIM_CHANNEL_1) != HAL_OK)
  {
    Error_Handler();
  }
  if (HAL_TIM_PWM_ConfigChannel(&htim2, &sConfigOC, TIM_CHANNEL_2) != HAL_OK)
  {
    Error_Handler();
  }
  HAL_TIM_MspPostInit(&htim2);

}

static void MX_TIM3_Init(void)
{

  TIM_ClockConfigTypeDef sClockSourceConfig = {0};
  TIM_MasterConfigTypeDef sMasterConfig = {0};
  TIM_OC_InitTypeDef sConfigOC = {0};

  htim3.Instance = TIM3;
  htim3.Init.Prescaler = 1;
  htim3.Init.CounterMode = TIM_COUNTERMODE_UP;
  htim3.Init.Period = 1024;
  htim3.Init.ClockDivision = TIM_CLOCKDIVISION_DIV1;
  htim3.Init.AutoReloadPreload = TIM_AUTORELOAD_PRELOAD_DISABLE;
  if (HAL_TIM_Base_Init(&htim3) != HAL_OK)
  {
    Error_Handler();
  }
  sClockSourceConfig.ClockSource = TIM_CLOCKSOURCE_INTERNAL;
  if (HAL_TIM_ConfigClockSource(&htim3, &sClockSourceConfig) != HAL_OK)
  {
    Error_Handler();
  }
  if (HAL_TIM_PWM_Init(&htim3) != HAL_OK)
  {
    Error_Handler();
  }
  sMasterConfig.MasterOutputTrigger = TIM_TRGO_UPDATE;
  sMasterConfig.MasterSlaveMode = TIM_MASTERSLAVEMODE_DISABLE;
  if (HAL_TIMEx_MasterConfigSynchronization(&htim3, &sMasterConfig) != HAL_OK)
  {
    Error_Handler();
  }
  sConfigOC.OCMode = TIM_OCMODE_PWM1;
  sConfigOC.Pulse = 1;
  sConfigOC.OCPolarity = TIM_OCPOLARITY_HIGH;
  sConfigOC.OCFastMode = TIM_OCFAST_DISABLE;
  if (HAL_TIM_PWM_ConfigChannel(&htim3, &sConfigOC, TIM_CHANNEL_1) != HAL_OK)
  {
    Error_Handler();
  }
  if (HAL_TIM_PWM_ConfigChannel(&htim3, &sConfigOC, TIM_CHANNEL_2) != HAL_OK)
  {
    Error_Handler();
  }
  HAL_TIM_MspPostInit(&htim3);

}

static void MX_TIM4_Init(void)
{

  TIM_ClockConfigTypeDef sClockSourceConfig = {0};
  TIM_MasterConfigTypeDef sMasterConfig = {0};
  TIM_OC_InitTypeDef sConfigOC = {0};

  htim4.Instance = TIM4;
  htim4.Init.Prescaler = 1;
  htim4.Init.CounterMode = TIM_COUNTERMODE_UP;
  htim4.Init.Period = 1024;
  htim4.Init.ClockDivision = TIM_CLOCKDIVISION_DIV1;
  htim4.Init.AutoReloadPreload = TIM_AUTORELOAD_PRELOAD_DISABLE;
  if (HAL_TIM_Base_Init(&htim4) != HAL_OK)
  {
    Error_Handler();
  }
  sClockSourceConfig.ClockSource = TIM_CLOCKSOURCE_INTERNAL;
  if (HAL_TIM_ConfigClockSource(&htim4, &sClockSourceConfig) != HAL_OK)
  {
    Error_Handler();
  }
  if (HAL_TIM_PWM_Init(&htim4) != HAL_OK)
  {
    Error_Handler();
  }
  sMasterConfig.MasterOutputTrigger = TIM_TRGO_UPDATE;
  sMasterConfig.MasterSlaveMode = TIM_MASTERSLAVEMODE_DISABLE;
  if (HAL_TIMEx_MasterConfigSynchronization(&htim4, &sMasterConfig) != HAL_OK)
  {
    Error_Handler();
  }
  sConfigOC.OCMode = TIM_OCMODE_PWM2;
  sConfigOC.Pulse = 1;
  sConfigOC.OCPolarity = TIM_OCPOLARITY_HIGH;
  sConfigOC.OCFastMode = TIM_OCFAST_DISABLE;
  if (HAL_TIM_PWM_ConfigChannel(&htim4, &sConfigOC, TIM_CHANNEL_1) != HAL_OK)
  {
    Error_Handler();
  }
  if (HAL_TIM_PWM_ConfigChannel(&htim4, &sConfigOC, TIM_CHANNEL_2) != HAL_OK)
  {
    Error_Handler();
  }
  if (HAL_TIM_PWM_ConfigChannel(&htim4, &sConfigOC, TIM_CHANNEL_3) != HAL_OK)
  {
    Error_Handler();
  }
  if (HAL_TIM_PWM_ConfigChannel(&htim4, &sConfigOC, TIM_CHANNEL_4) != HAL_OK)
  {
    Error_Handler();
  }
  HAL_TIM_MspPostInit(&htim4);

}

static void MX_USART1_UART_Init(void)
{

  huart1.Instance = USART1;
  huart1.Init.BaudRate = 31250;
  huart1.Init.WordLength = UART_WORDLENGTH_8B;
  huart1.Init.StopBits = UART_STOPBITS_1;
  huart1.Init.Parity = UART_PARITY_NONE;
  huart1.Init.Mode = UART_MODE_RX;
  huart1.Init.HwFlowCtl = UART_HWCONTROL_NONE;
  huart1.Init.OverSampling = UART_OVERSAMPLING_16;
  if (HAL_UART_Init(&huart1) != HAL_OK)
  {
    Error_Handler();
  }

}

static void MX_DMA_Init(void)
{

  /* DMA controller clock enable */
  __HAL_RCC_DMA1_CLK_ENABLE();

  /* DMA interrupt init */
  /* DMA1_Channel1_IRQn interrupt configuration */
  HAL_NVIC_SetPriority(DMA1_Channel1_IRQn, 0, 0);
  HAL_NVIC_EnableIRQ(DMA1_Channel1_IRQn);
  /* DMA1_Channel5_IRQn interrupt configuration */
  HAL_NVIC_SetPriority(DMA1_Channel5_IRQn, 0, 0);
  HAL_NVIC_EnableIRQ(DMA1_Channel5_IRQn);

}

static void MX_GPIO_Init(void)
{
  GPIO_InitTypeDef GPIO_InitStruct = {0};

  /* GPIO Ports Clock Enable */
  __HAL_RCC_GPIOC_CLK_ENABLE();
  __HAL_RCC_GPIOD_CLK_ENABLE();
  __HAL_RCC_GPIOA_CLK_ENABLE();
  __HAL_RCC_GPIOB_CLK_ENABLE();

  /*Configure GPIO pin Output Level */
  HAL_GPIO_WritePin(GPIOC, GPIO_PIN_13, GPIO_PIN_RESET);

  /*Configure GPIO pin Output Level */
  HAL_GPIO_WritePin(GPIOB, GPIO_PIN_13, GPIO_PIN_RESET);

  /*Configure GPIO pin : PC13 */
  GPIO_InitStruct.Pin = GPIO_PIN_13;
  GPIO_InitStruct.Mode = GPIO_MODE_OUTPUT_PP;
  GPIO_InitStruct.Pull = GPIO_NOPULL;
  GPIO_InitStruct.Speed = GPIO_SPEED_FREQ_LOW;
  HAL_GPIO_Init(GPIOC, &GPIO_InitStruct);

  /*Configure GPIO pin : PB13 */
  GPIO_InitStruct.Pin = GPIO_PIN_13;
  GPIO_InitStruct.Mode = GPIO_MODE_OUTPUT_PP;
  GPIO_InitStruct.Pull = GPIO_NOPULL;
  GPIO_InitStruct.Speed = GPIO_SPEED_FREQ_LOW;
  HAL_GPIO_Init(GPIOB, &GPIO_InitStruct);

  /*Configure GPIO pins : PB14 PB15 */
  GPIO_InitStruct.Pin = GPIO_PIN_14|GPIO_PIN_15;
  GPIO_InitStruct.Mode = GPIO_MODE_INPUT;
  GPIO_InitStruct.Pull = GPIO_NOPULL;
  HAL_GPIO_Init(GPIOB, &GPIO_InitStruct);

  /*Configure GPIO pin : PA11 */
  GPIO_InitStruct.Pin = GPIO_PIN_11;
  GPIO_InitStruct.Mode = GPIO_MODE_IT_RISING;
  GPIO_InitStruct.Pull = GPIO_NOPULL;
  HAL_GPIO_Init(GPIOA, &GPIO_InitStruct);

}

void Error_Handler(void)
{
}

/************************ (C) COPYRIGHT STMicroelectronics *****END OF FILE****/
